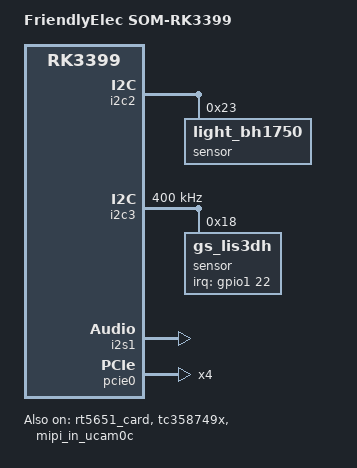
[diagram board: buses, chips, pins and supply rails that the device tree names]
/*
 * Copyright (c) 2018 FriendlyElec Computer Tech. Co., Ltd.
 * (http://www.friendlyarm.com)
 *
 * This program is free software; you can redistribute it and/or
 * modify it under the terms of the GNU General Public License
 * as published by the Free Software Foundation; either version 2
 * of the License, or (at your option) any later version.
 *
 * This program is distributed in the hope that it will be useful,
 * but WITHOUT ANY WARRANTY; without even the implied warranty of
 * MERCHANTABILITY or FITNESS FOR A PARTICULAR PURPOSE.  See the
 * GNU General Public License for more details.
 *
 * You should have received a copy of the GNU General Public License
 * along with this program.  If not, see <http://www.gnu.org/licenses/>.
 */

/dts-v1/;
#include <dt-bindings/sensor-dev.h>
#include "rk3399-nanopi4-common.dtsi"

/ {
	model = "FriendlyElec SOM-RK3399";
	compatible = "friendlyelec,som-rk3399", "rockchip,rk3399";
};

&mach {
	hwrev = <6>;
	model = "SOM-RK3399";
};

&i2c2 {
    sensor@10 {
        compatible = "light_bh1750";
        reg = <0x23>;
        status = "okay";

        type = <SENSOR_TYPE_LIGHT>;
        poll_delay_ms = <64>;
    };
};

&i2c3 {
	status = "okay";
	i2c-scl-rising-time-ns = <160>;
	i2c-scl-falling-time-ns = <30>;
	clock-frequency = <400000>;

	sensor@18 {
		status = "okay";
		compatible = "gs_lis3dh";
		reg = <0x18>;
		type = <SENSOR_TYPE_ACCEL>;
		irq-gpio = <&gpio1 22 IRQ_TYPE_LEVEL_LOW>;
		irq_enable = <0>;
		poll_delay_ms = <64>;
		layout = <2>;
		reprobe_en = <1>;
	};
};

&i2s1 {
	status = "okay";
	rockchip,playback-channels = <2>;
	rockchip,capture-channels = <2>;
	#sound-dai-cells = <0>;
};

&pcie0 {
	ep-gpios = <&gpio2 4 GPIO_ACTIVE_HIGH>;
	pinctrl-names = "default";
	pinctrl-0 = <&pcie_gpios>;
	num-lanes = <4>;
};

&rt5651_card {
	status = "okay";

	simple-audio-card,cpu {
		sound-dai = <&i2s1>;
	};
};

&tc358749x {
	rockchip,camera-module-index = <0>;
	rockchip,camera-module-facing = "back";
	rockchip,camera-module-name = "HDMIIN";
	rockchip,camera-module-lens-name = "NA";

	status = "okay";
};

&mipi_in_ucam0c {
	status = "okay";
};

&pinctrl {
	hdmiin {
		hdmiin_gpios: hdmiin-gpios {
			rockchip,pins =
				<1 0 RK_FUNC_GPIO &pcfg_output_high>,
				<2 6 RK_FUNC_GPIO &pcfg_output_high>,
				<2 5 RK_FUNC_GPIO &pcfg_output_high>,
				<0 2 RK_FUNC_GPIO &pcfg_pull_none>;
		};
	};
};
